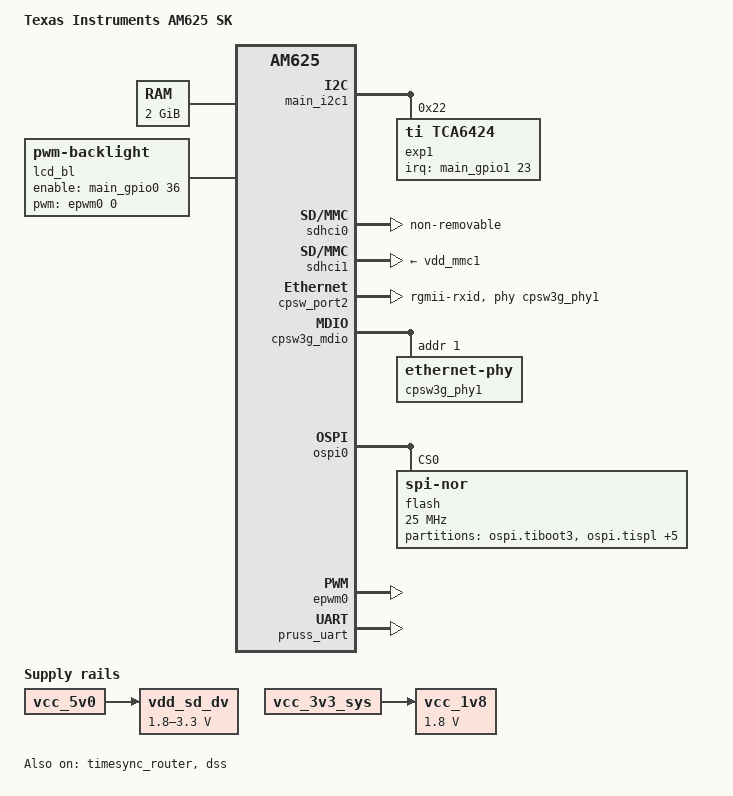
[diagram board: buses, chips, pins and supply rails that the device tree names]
// SPDX-License-Identifier: GPL-2.0-only OR MIT
/*
 * AM625 SK: https://www.ti.com/lit/zip/sprr448
 *
 * Copyright (C) 2021-2024 Texas Instruments Incorporated - https://www.ti.com/
 */

/dts-v1/;

#include "k3-am625.dtsi"
#include "k3-am62x-sk-common.dtsi"

#include "k3-timesync-router.h"

/ {
	compatible = "ti,am625-sk", "ti,am625";
	model = "Texas Instruments AM625 SK";

	opp-table {
		/* Add 1.4GHz OPP for am625-sk board. Requires VDD_CORE to be at 0.85V */
		opp-1400000000 {
			opp-hz = /bits/ 64 <1400000000>;
			opp-supported-hw = <0x01 0x0004>;
			clock-latency-ns = <6000000>;
		};
	};

	memory@80000000 {
		bootph-pre-ram;
		device_type = "memory";
		/* 2G RAM */
		reg = <0x00000000 0x80000000 0x00000000 0x80000000>;

	};

	vdd_sd_dv: regulator-4 {
		/* Output of TLV71033 */
		bootph-all;
		compatible = "regulator-gpio";
		regulator-name = "tlv71033";
		pinctrl-names = "default";
		pinctrl-0 = <&vdd_sd_dv_pins_default>;
		regulator-min-microvolt = <1800000>;
		regulator-max-microvolt = <3300000>;
		regulator-boot-on;
		vin-supply = <&vcc_5v0>;
		gpios = <&main_gpio0 31 GPIO_ACTIVE_HIGH>;
		states = <1800000 0x0>,
			 <3300000 0x1>;
	};

	vcc_1v8: regulator-5 {
		/* output of TPS6282518DMQ */
		compatible = "regulator-fixed";
		regulator-name = "vcc_1v8";
		regulator-min-microvolt = <1800000>;
		regulator-max-microvolt = <1800000>;
		vin-supply = <&vcc_3v3_sys>;
		regulator-always-on;
		regulator-boot-on;
	};
	
	/* ==== [PHASE 1 ADDED] custom PWM backlight ==== */
	lcd_bl: backlight {
		compatible = "pwm-backlight";
		pwms = <&epwm0 0 50000 0>;
		brightness-levels = <0 32 64 96 128 160 192 224 255>;
		default-brightness-level = <8>;
		enable-gpios = <&main_gpio0 36 GPIO_ACTIVE_HIGH>;
	};
};

&vmain_pd {
	bootph-all;
};

&vcc_5v0 {
	bootph-all;
};

&vcc_3v3_sys {
	bootph-all;
};

&vdd_mmc1 {
	bootph-all;
};

&main_pmx0 {
	main_mmc0_pins_default: main-mmc0-default-pins {
		bootph-all;
		pinctrl-single,pins = <
			AM62X_IOPAD(0x220, PIN_INPUT, 0) /* (Y3) MMC0_CMD */
			AM62X_IOPAD(0x218, PIN_INPUT, 0) /* (AB1) MMC0_CLK */
			AM62X_IOPAD(0x214, PIN_INPUT, 0) /* (AA2) MMC0_DAT0 */
			AM62X_IOPAD(0x210, PIN_INPUT_PULLUP, 0) /* (AA1) MMC0_DAT1 */
			AM62X_IOPAD(0x20c, PIN_INPUT_PULLUP, 0) /* (AA3) MMC0_DAT2 */
			AM62X_IOPAD(0x208, PIN_INPUT_PULLUP, 0) /* (Y4) MMC0_DAT3 */
			AM62X_IOPAD(0x204, PIN_INPUT_PULLUP, 0) /* (AB2) MMC0_DAT4 */
			AM62X_IOPAD(0x200, PIN_INPUT_PULLUP, 0) /* (AC1) MMC0_DAT5 */
			AM62X_IOPAD(0x1fc, PIN_INPUT_PULLUP, 0) /* (AD2) MMC0_DAT6 */
			AM62X_IOPAD(0x1f8, PIN_INPUT_PULLUP, 0) /* (AC2) MMC0_DAT7 */
		>;
	};

	main_rgmii2_pins_default: main-rgmii2-default-pins {
		bootph-all;
		pinctrl-single,pins = <
			AM62X_IOPAD(0x184, PIN_INPUT, 0) /* (AE23) RGMII2_RD0 */
			AM62X_IOPAD(0x188, PIN_INPUT, 0) /* (AB20) RGMII2_RD1 */
			AM62X_IOPAD(0x18c, PIN_INPUT, 0) /* (AC21) RGMII2_RD2 */
			AM62X_IOPAD(0x190, PIN_INPUT, 0) /* (AE22) RGMII2_RD3 */
			AM62X_IOPAD(0x180, PIN_INPUT, 0) /* (AD23) RGMII2_RXC */
			AM62X_IOPAD(0x17c, PIN_INPUT, 0) /* (AD22) RGMII2_RX_CTL */
			AM62X_IOPAD(0x16c, PIN_OUTPUT, 0) /* (Y18) RGMII2_TD0 */
			AM62X_IOPAD(0x170, PIN_OUTPUT, 0) /* (AA18) RGMII2_TD1 */
			AM62X_IOPAD(0x174, PIN_OUTPUT, 0) /* (AD21) RGMII2_TD2 */
			AM62X_IOPAD(0x178, PIN_OUTPUT, 0) /* (AC20) RGMII2_TD3 */
			AM62X_IOPAD(0x168, PIN_OUTPUT, 0) /* (AE21) RGMII2_TXC */
			AM62X_IOPAD(0x164, PIN_OUTPUT, 0) /* (AA19) RGMII2_TX_CTL */
		>;
	};

	vdd_sd_dv_pins_default: vdd-sd-dv-default-pins {
		bootph-all;
		pinctrl-single,pins = <
			AM62X_IOPAD(0x07c, PIN_OUTPUT, 7) /* (P25) GPMC0_CLK.GPIO0_31 */
		>;
	};

	main_gpio1_ioexp_intr_pins_default: main-gpio1-ioexp-intr-default-pins {
		bootph-all;
		pinctrl-single,pins = <
			AM62X_IOPAD(0x01d4, PIN_INPUT, 7) /* (B15) UART0_RTSn.GPIO1_23 */
		>;
	};

	/* ==== [PHASE 1 ADDED] custom EPWM pin ==== */
	main_epwm0_pins_default: main-epwm0-default-pins {
		pinctrl-single,pins = <
			AM62X_IOPAD(0x01ac, PIN_OUTPUT, 6) /* (E19) MCASP0_AFSR.EHRPWM0_A */
		>;
	};

	/* ==== [PHASE 1 ADDED] add backlight enable GPIO into DSS pin group ==== */
	main_dss0_pins_default: main-dss0-default-pins {
		pinctrl-single,pins = <
			AM62X_IOPAD(0x100, PIN_OUTPUT, 0) /* (AC25) VOUT0_VSYNC */
			AM62X_IOPAD(0x0f8, PIN_OUTPUT, 0) /* (AB24) VOUT0_HSYNC */
			AM62X_IOPAD(0x104, PIN_OUTPUT, 0) /* (AC24) VOUT0_PCLK */
			AM62X_IOPAD(0x0fc, PIN_OUTPUT, 0) /* (Y20) VOUT0_DE */
			AM62X_IOPAD(0x0b8, PIN_OUTPUT, 0) /* (U22) VOUT0_DATA0 */
			AM62X_IOPAD(0x0bc, PIN_OUTPUT, 0) /* (V24) VOUT0_DATA1 */
			AM62X_IOPAD(0x0c0, PIN_OUTPUT, 0) /* (W25) VOUT0_DATA2 */
			AM62X_IOPAD(0x0c4, PIN_OUTPUT, 0) /* (W24) VOUT0_DATA3 */
			AM62X_IOPAD(0x0c8, PIN_OUTPUT, 0) /* (Y25) VOUT0_DATA4 */
			AM62X_IOPAD(0x0cc, PIN_OUTPUT, 0) /* (Y24) VOUT0_DATA5 */
			AM62X_IOPAD(0x0d0, PIN_OUTPUT, 0) /* (Y23) VOUT0_DATA6 */
			AM62X_IOPAD(0x0d4, PIN_OUTPUT, 0) /* (AA25) VOUT0_DATA7 */
			AM62X_IOPAD(0x0d8, PIN_OUTPUT, 0) /* (V21) VOUT0_DATA8 */
			AM62X_IOPAD(0x0dc, PIN_OUTPUT, 0) /* (W21) VOUT0_DATA9 */
			AM62X_IOPAD(0x0e0, PIN_OUTPUT, 0) /* (V20) VOUT0_DATA10 */
			AM62X_IOPAD(0x0e4, PIN_OUTPUT, 0) /* (AA23) VOUT0_DATA11 */
			AM62X_IOPAD(0x0e8, PIN_OUTPUT, 0) /* (AB25) VOUT0_DATA12 */
			AM62X_IOPAD(0x0ec, PIN_OUTPUT, 0) /* (AA24) VOUT0_DATA13 */
			AM62X_IOPAD(0x0f0, PIN_OUTPUT, 0) /* (Y22) VOUT0_DATA14 */
			AM62X_IOPAD(0x0f4, PIN_OUTPUT, 0) /* (AA21) VOUT0_DATA15 */
			AM62X_IOPAD(0x05c, PIN_OUTPUT, 1) /* (R24) GPMC0_AD8.VOUT0_DATA16 */
			AM62X_IOPAD(0x060, PIN_OUTPUT, 1) /* (R25) GPMC0_AD9.VOUT0_DATA17 */
			AM62X_IOPAD(0x064, PIN_OUTPUT, 1) /* (T25) GPMC0_AD10.VOUT0_DATA18 */
			AM62X_IOPAD(0x068, PIN_OUTPUT, 1) /* (R21) GPMC0_AD11.VOUT0_DATA19 */
			AM62X_IOPAD(0x06c, PIN_OUTPUT, 1) /* (T22) GPMC0_AD12.VOUT0_DATA20 */
			AM62X_IOPAD(0x070, PIN_OUTPUT, 1) /* (T24) GPMC0_AD13.VOUT0_DATA21 */
			AM62X_IOPAD(0x074, PIN_OUTPUT, 1) /* (U25) GPMC0_AD14.VOUT0_DATA22 */
			AM62X_IOPAD(0x078, PIN_OUTPUT, 1) /* (U24) GPMC0_AD15.VOUT0_DATA23 */
			AM62X_IOPAD(0x094, PIN_OUTPUT, 7) /* (N20) GPMC0_BE1n.GPIO0_36 */
		>;
	};
};

&main_gpio0 {
	bootph-all;
};

&main_gpio1 {
	bootph-all;
};

&main_i2c1 {
	bootph-all;
	exp1: gpio@22 {
		bootph-all;
		compatible = "ti,tca6424";
		reg = <0x22>;
		gpio-controller;
		#gpio-cells = <2>;
		gpio-line-names = "GPIO_CPSW2_RST", "GPIO_CPSW1_RST",
				   "PRU_DETECT", "MMC1_SD_EN",
				   "VPP_LDO_EN", "EXP_PS_3V3_En",
				   "EXP_PS_5V0_En", "EXP_HAT_DETECT",
				   "GPIO_AUD_RSTn", "GPIO_eMMC_RSTn",
				   "UART1_FET_BUF_EN", "WL_LT_EN",
				   "GPIO_HDMI_RSTn", "CSI_GPIO1",
				   "CSI_GPIO2", "PRU_3V3_EN",
				   "HDMI_INTn", "PD_I2C_IRQ",
				   "MCASP1_FET_EN", "MCASP1_BUF_BT_EN",
				   "MCASP1_FET_SEL", "UART1_FET_SEL",
				   "TSINT#", "IO_EXP_TEST_LED";

		interrupt-parent = <&main_gpio1>;
		interrupts = <23 IRQ_TYPE_EDGE_FALLING>;
		interrupt-controller;
		#interrupt-cells = <2>;

		pinctrl-names = "default";
		pinctrl-0 = <&main_gpio1_ioexp_intr_pins_default>;
	};
};

&sdhci0 {
	bootph-all;
	non-removable;
	pinctrl-names = "default";
	pinctrl-0 = <&main_mmc0_pins_default>;
	status = "okay";
};

&sdhci1 {
	vmmc-supply = <&vdd_mmc1>;
	vqmmc-supply = <&vdd_sd_dv>;
};

&cpsw3g {
	pinctrl-names = "default";
	pinctrl-0 = <&main_rgmii1_pins_default>, <&main_rgmii2_pins_default>;

	cpts@3d000 {
		/* MAP HW3_TS_PUSH to GENF1 */
		ti,pps = <2 1>;
	};
};

&cpsw_port2 {
	phy-mode = "rgmii-rxid";
	phy-handle = <&cpsw3g_phy1>;
};

&cpsw3g_mdio {
	cpsw3g_phy1: ethernet-phy@1 {
		reg = <1>;
		ti,rx-internal-delay = <DP83867_RGMIIDCTL_2_00_NS>;
		ti,fifo-depth = <DP83867_PHYCR_FIFO_DEPTH_4_B_NIB>;
		ti,min-output-impedance;
	};
};

&fss {
	bootph-all;
};

&ospi0 {
	flash@0 {
		bootph-all;
		compatible = "jedec,spi-nor";
		reg = <0x0>;
		spi-tx-bus-width = <8>;
		spi-rx-bus-width = <8>;
		spi-max-frequency = <25000000>;
		cdns,tshsl-ns = <60>;
		cdns,tsd2d-ns = <60>;
		cdns,tchsh-ns = <60>;
		cdns,tslch-ns = <60>;
		cdns,read-delay = <4>;
		cdns,phy-mode;

		partitions {
			bootph-all;
			compatible = "fixed-partitions";
			#address-cells = <1>;
			#size-cells = <1>;

			partition@0 {
				label = "ospi.tiboot3";
				reg = <0x0 0x80000>;
			};

			partition@80000 {
				label = "ospi.tispl";
				reg = <0x80000 0x200000>;
			};

			partition@280000 {
				label = "ospi.u-boot";
				reg = <0x280000 0x400000>;
			};

			partition@680000 {
				label = "ospi.env";
				reg = <0x680000 0x40000>;
			};

			partition@6c0000 {
				label = "ospi.env.backup";
				reg = <0x6c0000 0x40000>;
			};

			partition@800000 {
				label = "ospi.rootfs";
				reg = <0x800000 0x37c0000>;
			};

			partition@3fc0000 {
				bootph-pre-ram;
				label = "ospi.phypattern";
				reg = <0x3fc0000 0x40000>;
			};
		};
	};
};

&tlv320aic3106 {
	DVDD-supply = <&vcc_1v8>;
};

&timesync_router {
	mux-reg-masks-state = <
		K3_TS_OFFSET(12, 0x0001ffff, 17)
		>;
	status = "okay";
};


/* ==== [PHASE 1 ADDED] enable EPWM for backlight ==== */
&epwm0 {
	pinctrl-names = "default";
	pinctrl-0 = <&main_epwm0_pins_default>;
	status = "okay";
};

&dss_oldi_io_ctrl {
	bootph-all;
};

&dss {
	bootph-all;
	status = "okay";
	pinctrl-names = "default";
	pinctrl-0 = <&main_dss0_pins_default>;
};

&dss_ports {
	/* VP2: DPI Output */
	hdmi0_dss: port@1 {
		reg = <1>;

		dpi1_out: endpoint {
			remote-endpoint = <&sii9022_in>;
		};
	};

	/* ==== [PHASE 1 ADDED] LVDS OLDI TX 0 ==== */
	port@0 {
		reg = <0>;
		oldi_out0: endpoint {
			remote-endpoint = <&lcd_in0>;
		};
	};

	/* ==== [PHASE 1 ADDED] LVDS OLDI TX 1 ==== */
	port@2 {
		reg = <2>;
		oldi_out1: endpoint {
			remote-endpoint = <&lcd_in1>;
		};
	};
};

/* mcu_gpio0 and mcu_gpio_intr are reserved for mcu firmware usage */
&mcu_gpio0 {
	status = "reserved";
};

&mcu_gpio_intr {
	status = "reserved";
};

&ospi0 {
	bootph-all;
	status = "okay";
	pinctrl-names = "default";
	pinctrl-0 = <&ospi0_pins_default>;
};

&pruss_uart {
	pinctrl-names = "default";
	pinctrl-0 = <&pruss_uart_pins>;
	status = "okay";
};
